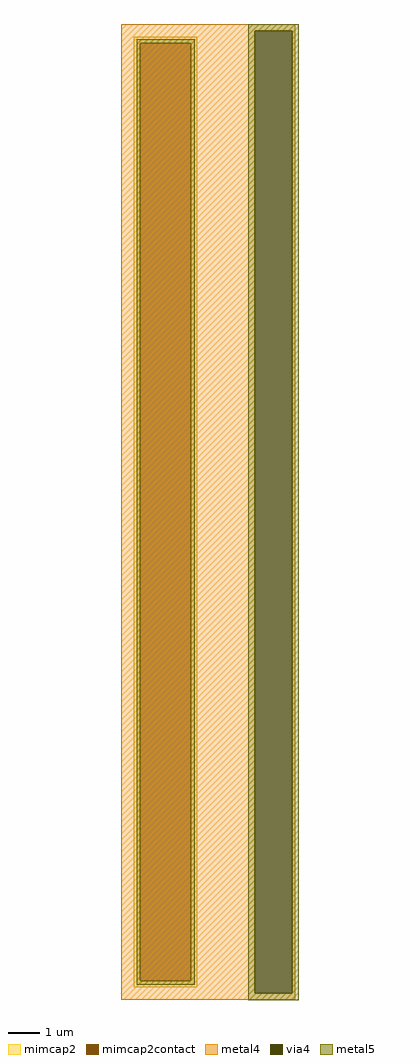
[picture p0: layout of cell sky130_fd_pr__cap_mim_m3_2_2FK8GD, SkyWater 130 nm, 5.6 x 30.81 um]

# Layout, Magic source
magic
tech sky130A
magscale 1 2
<< metal4 >>
rect -549 3039 549 3080
rect -549 -3039 293 3039
rect 529 -3039 549 3039
rect -549 -3080 549 -3039
<< via4 >>
rect 293 -3039 529 3039
<< mimcap2 >>
rect -469 2960 -69 3000
rect -469 -2960 -429 2960
rect -109 -2960 -69 2960
rect -469 -3000 -69 -2960
<< mimcap2contact >>
rect -429 -2960 -109 2960
<< metal5 >>
rect 251 3039 571 3081
rect -453 2960 -85 2984
rect -453 -2960 -429 2960
rect -109 -2960 -85 2960
rect -453 -2984 -85 -2960
rect 251 -3039 293 3039
rect 529 -3039 571 3039
rect 251 -3081 571 -3039
<< properties >>
string FIXED_BBOX -549 -3080 11 3080
string gencell sky130_fd_pr__cap_mim_m3_2
string library sky130
string parameters w 2.00 l 30.0 val 132.16 carea 2.00 cperi 0.19 class capacitor nx 1 ny 1 dummy 0 square 0 lmin 2.00 wmin 2.00 lmax 30.0 wmax 30.0 dc 0 bconnect 1 tconnect 1 ccov 100
<< end >>
